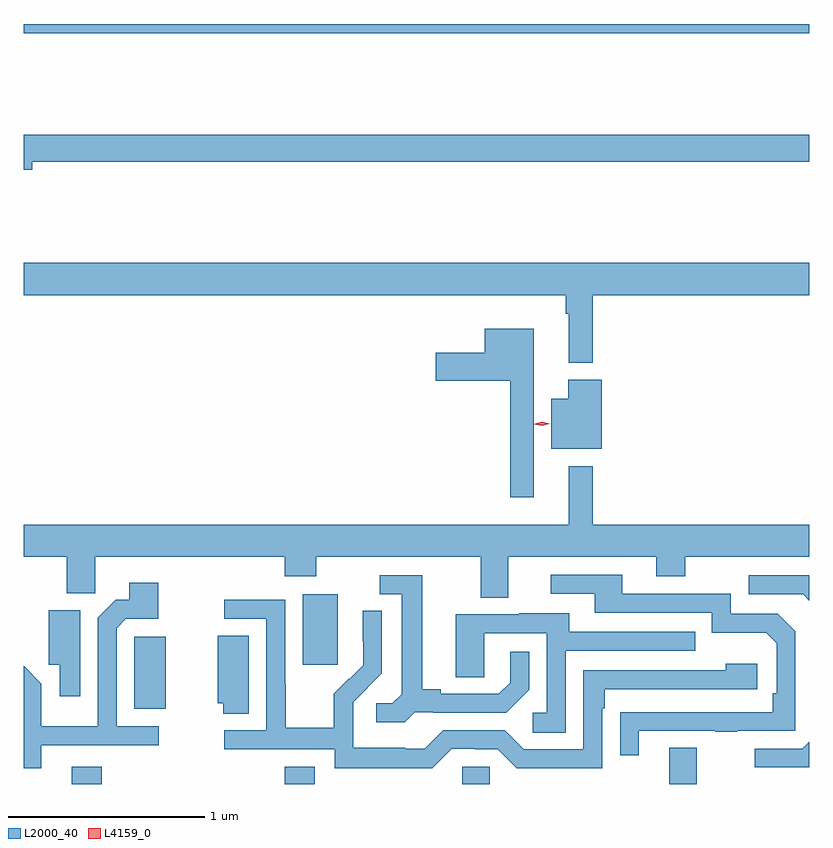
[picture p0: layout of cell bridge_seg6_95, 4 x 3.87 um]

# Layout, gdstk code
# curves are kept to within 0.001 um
import gdstk
lib = gdstk.Library(unit=1e-6, precision=1e-09)
def R(c, l, rs):  # rectangles x0, y0, x1, y1
    for r in rs: c.add(gdstk.rectangle(r[:2], r[2:], *l))
def P(c, l, *ps):  # polygons
    for p in ps: c.add(gdstk.Polygon(p, *l))
L2000_40 = (2000, 40)
L4159_0 = (4159, 0)

bridge_seg6_95 = lib.new_cell('bridge_seg6_95')
R(bridge_seg6_95, L2000_40, [(626.795,994.131,626.948,994.219), (627.881,994.131,628.033,994.219), (628.785,994.131,628.923,994.218), (629.837,994.131,629.977,994.315), (627.113,994.514,627.274,994.881), (627.971,994.737,628.15,995.098), (626.551,997.952,630.551,998)])
P(bridge_seg6_95, L2000_40, [(626.596,997.3),(630.551,997.3),(630.551,997.436),(626.551,997.436),(626.551,997.258),(626.596,997.258)],
  [(629.449,996.62),(630.551,996.62),(630.551,996.784),(626.551,996.784),(626.551,996.62),(629.31,996.62),(629.31,996.524),(629.327,996.524),(629.327,996.275),(629.449,996.275)],
  [(629.149,996.448),(628.898,996.448),(628.898,996.327),(628.65,996.327),(628.65,996.185),(629.028,996.185),(629.028,995.592),(629.149,995.592)],
  [(629.495,996.19),(629.324,996.19),(629.324,996.091),(629.237,996.091),(629.237,995.837),(629.495,995.837)],
  [(629.017,995.288),(629.771,995.288),(629.771,995.189),(629.919,995.189),(629.919,995.288),(630.551,995.288),(630.551,995.452),(629.449,995.452),(629.449,995.749),(629.327,995.749),(629.327,995.452),(626.551,995.452),(626.551,995.288),(626.77,995.288),(626.77,995.101),(626.916,995.101),(626.916,995.288),(627.881,995.288),(627.881,995.189),(628.041,995.189),(628.041,995.288),(628.877,995.288),(628.877,995.08),(629.017,995.08)],
  [(629.683,994.401),(630.073,994.401),(630.073,994.396),(630.185,994.396),(630.185,994.401),(630.48,994.401),(630.48,994.908),(630.39,994.998),(630.15,994.998),(630.15,995.1),(629.599,995.1),(629.599,995.196),(629.235,995.196),(629.235,995.1),(629.459,995.1),(629.459,995.004),(630.054,995.004),(630.054,994.901),(630.331,994.901),(630.384,994.848),(630.384,994.594),(630.364,994.594),(630.364,994.497),(629.587,994.496),(629.587,994.278),(629.683,994.278)],
  [(630.551,995.193),(630.243,995.193),(630.243,995.097),(630.519,995.097),(630.551,995.065)],
  [(628.542,994.497),(628.636,994.497),(628.636,994.494),(629.008,994.494),(629.124,994.61),(629.124,994.804),(629.027,994.804),(629.027,994.647),(628.97,994.59),(628.675,994.59),(628.675,994.613),(628.579,994.613),(628.579,995.193),(628.365,995.193),(628.365,995.097),(628.475,995.097),(628.475,994.589),(628.428,994.542),(628.347,994.542),(628.347,994.445),(628.49,994.445)],
  [(626.641,994.329),(627.238,994.329),(627.238,994.425),(627.024,994.425),(627.024,994.923),(627.072,994.971),(627.237,994.971),(627.237,995.155),(627.089,995.155),(627.089,995.07),(627.021,995.07),(626.928,994.977),(626.928,994.426),(626.64,994.426),(626.64,994.642),(626.551,994.732),(626.551,994.211),(626.641,994.211)],
  [(628.731,994.311),(628.847,994.311),(628.847,994.308),(628.965,994.308),(629.061,994.212),(629.496,994.212),(629.496,994.517),(629.509,994.517),(629.509,994.614),(630.286,994.614),(630.286,994.744),(630.125,994.744),(630.125,994.71),(629.4,994.71),(629.4,994.308),(629.097,994.308),(629.001,994.404),(628.686,994.404),(628.593,994.311),(628.493,994.311),(628.493,994.315),(628.23,994.315),(628.23,994.449),(628.228,994.449),(628.228,994.546),(628.374,994.694),(628.374,995.012),(628.278,995.012),(628.278,994.858),(628.28,994.858),(628.28,994.736),(628.209,994.665),(628.206,994.668),(628.129,994.591),(628.129,994.417),(627.885,994.417),(627.885,994.64),(627.882,994.64),(627.882,995.07),(627.573,995.07),(627.573,994.971),(627.786,994.971),(627.786,994.404),(627.573,994.404),(627.573,994.308),(628.134,994.308),(628.134,994.211),(628.631,994.211)],
  [(626.839,995.016),(626.678,995.016),(626.678,994.737),(626.735,994.737),(626.735,994.578),(626.839,994.578)],
  [(629.31,994.809),(629.969,994.809),(629.969,994.905),(629.329,994.905),(629.329,994.999),(629.075,994.999),(629.075,994.995),(628.751,994.995),(628.751,994.675),(628.896,994.675),(628.896,994.899),(629.214,994.899),(629.214,994.494),(629.142,994.494),(629.142,994.393),(629.31,994.393)],
  [(627.697,994.886),(627.539,994.886),(627.539,994.542),(627.566,994.542),(627.566,994.489),(627.697,994.489)],
  [(630.551,994.346),(630.516,994.311),(630.273,994.311),(630.273,994.215),(630.551,994.215)])
P(bridge_seg6_95, L4159_0, [(629.19,995.954),(629.148,995.963),(629.148,995.963),(629.148,995.963),(629.189,995.974),(629.23,995.965),(629.23,995.965),(629.23,995.965)])

lib.write_gds('bridge_seg6_95.gds')
